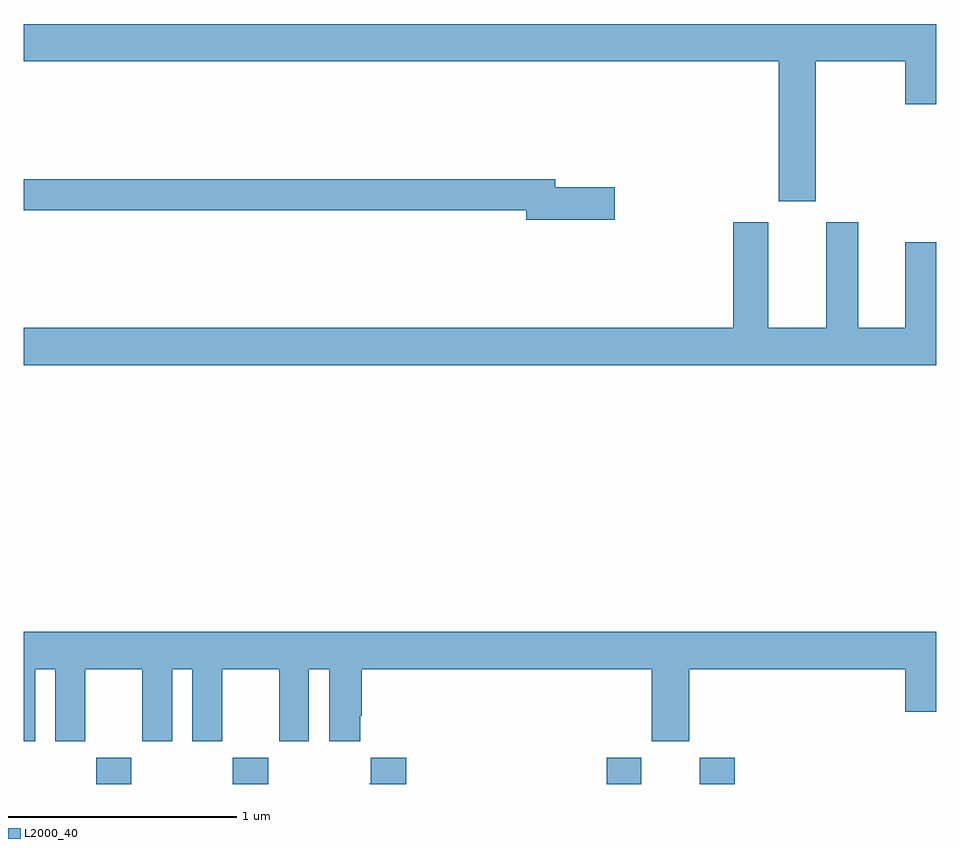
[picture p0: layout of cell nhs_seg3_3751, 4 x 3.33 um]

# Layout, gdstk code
import gdstk
lib = gdstk.Library(unit=1e-6, precision=1e-09)
def R(c, l, rs):  # rectangles x0, y0, x1, y1
    for r in rs: c.add(gdstk.rectangle(r[:2], r[2:], *l))
def P(c, l, *ps):  # polygons
    for p in ps: c.add(gdstk.Polygon(p, *l))
L2000_40 = (2000, 40)

nhs_seg3_3751 = lib.new_cell('nhs_seg3_3751')
R(nhs_seg3_3751, L2000_40, [(305.317,712.4,305.472,712.516), (305.917,712.4,306.072,712.516), (307.556,712.4,307.708,712.515), (307.964,712.4,308.117,712.515)])
P(nhs_seg3_3751, L2000_40, [(308.473,715.568),(308.864,715.568),(308.864,715.38),(309,715.38),(309,715.732),(305,715.732),(305,715.568),(308.309,715.568),(308.309,714.954),(308.473,714.954)],
  [(307.591,715.016),(307.33,715.016),(307.33,715.052),(305,715.052),(305,714.916),(307.202,714.916),(307.202,714.874),(307.591,714.874)],
  [(308.111,714.862),(308.111,714.4),(305,714.4),(305,714.236),(309,714.236),(309,714.775),(308.864,714.775),(308.864,714.4),(308.659,714.4),(308.659,714.862),(308.519,714.862),(308.519,714.4),(308.263,714.4),(308.263,714.862)],
  [(305.05,712.904),(305.138,712.904),(305.138,712.587),(305.269,712.587),(305.269,712.904),(305.519,712.904),(305.519,712.587),(305.65,712.587),(305.65,712.904),(305.738,712.904),(305.738,712.587),(305.869,712.587),(305.869,712.904),(306.119,712.904),(306.119,712.587),(306.25,712.587),(306.25,712.904),(306.338,712.904),(306.338,712.587),(306.475,712.587),(306.475,712.699),(306.482,712.699),(306.482,712.904),(307.754,712.904),(307.754,712.587),(307.918,712.587),(307.918,712.904),(308.864,712.904),(308.864,712.716),(309,712.716),(309,713.068),(305,713.068),(305,712.587),(305.05,712.587)],
  [(306.677,712.516),(306.521,712.516),(306.521,712.403),(306.517,712.403),(306.517,712.4),(306.677,712.4)])

lib.write_gds('nhs_seg3_3751.gds')
